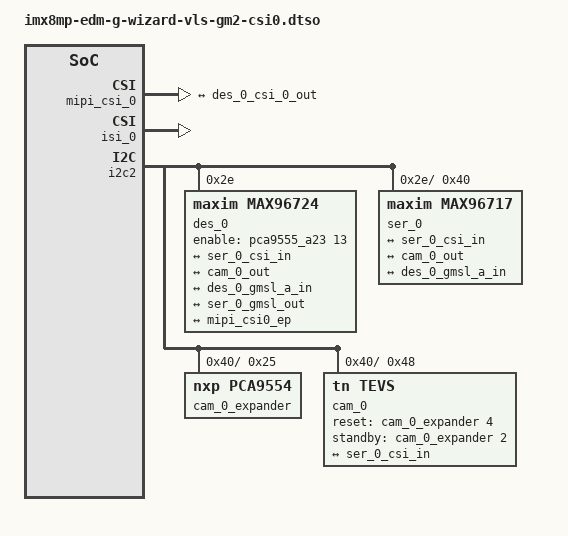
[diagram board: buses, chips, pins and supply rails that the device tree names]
// SPDX-License-Identifier: (GPL-2.0 OR MIT)
/*
 * Copyright 2026 TechNexion Ltd.
 *
 */

/dts-v1/;
/plugin/;

#include <dt-bindings/interrupt-controller/irq.h>
#include <dt-bindings/clock/imx8mp-clock.h>
#include <dt-bindings/gpio/gpio.h>

/*
 * MIPI CSI hs_settle = (lane_rate - 5 MHz) / 45 MHz
 *                    = (1500 - 5) / 45
 *                    = 33
 */
&mipi_csi_0 {
	#address-cells = <1>;
	#size-cells = <0>;
	status = "okay";

	port {
		mipi_csi0_ep: endpoint {
			remote-endpoint = <&des_0_csi_0_out>;
			data-lanes = <4>;
			csis-hs-settle = <33>;
			csis-clk-settle = <2>;
		};
	};
};

&isi_0 {
	status = "okay";

	cap_device {
		status = "okay";
		fsl,stream-on-downstream-first;
	};

	m2m_device{
		status = "okay";
	};
};

&i2c2 {
	#address-cells = <1>;
	#size-cells = <0>;

	des_0: max96724@2e {
		compatible = "maxim,max96724";
		reg = <0x2e>;
		status = "okay";

		#address-cells = <1>;
		#size-cells = <0>;

		enable-gpios = <&pca9555_a23 13 GPIO_ACTIVE_HIGH>;

		i2c-alias-pool = <0x41 0x42 0x43 0x44>;

		i2c-atr {
			#address-cells = <1>;
			#size-cells = <0>;

			des_0_i2c_0: i2c@0 {
				#address-cells = <1>;
				#size-cells = <0>;
				reg = <0>;
			};
		};

		ports {
			#address-cells = <1>;
			#size-cells = <0>;

			port@0 {
				#address-cells = <1>;
				#size-cells = <0>;
				reg = <0>;

				des_0_gmsl_a_in: endpoint@0 {
					remote-endpoint = <&ser_0_gmsl_out>;
				};
			};

			port@4 {
				#address-cells = <1>;
				#size-cells = <0>;
				reg = <4>;

				des_0_csi_0_out: endpoint@0 {
					data-lanes = <1 2 3 4>;
					clock-lanes = <0>;
					bus-type = <4>;
					link-frequencies = /bits/ 64 <750000000>;
					remote-endpoint = <&mipi_csi0_ep>;
				};
			};
		};
	};
};

&des_0_i2c_0 {
	ser_0: serializer@40 {
		compatible = "maxim,max96717";
		reg = <0x40>;

		gpio-controller;
		#gpio-cells = <2>;
		#clock-cells = <0>;

		i2c-alias-pool = <0x29 0x49>;

		pinctrl-names = "default";
		pinctrl-0 = <&ser_0_fsync>;

		ser_0_fsync: mfp0-pins {
			pins = "mfp0";
			function = "gpio";
			maxim,rx-id = <0>;
			output-enable;
			output-low;
		};

		i2c-atr {
			#address-cells = <1>;
			#size-cells = <0>;

			i2c@0 {
				#address-cells = <1>;
				#size-cells = <0>;
				reg = <0>;

				cam_0_expander: pca9554@25 {
					compatible = "nxp,pca9554";
					reg = <0x25>;
					gpio-controller;
					#gpio-cells = <2>;
					gpio-line-names = "EXPOSURE_TRIG_IN",
									"FLASH_OUT",
									"INFO_TRIG_IN",
									"CAMA_SHUTTER",
									"CSI_P1_nRST",
									"PWR_TIME0",
									"PWR_TIME1",
									"3V3_EN";
					status = "okay";
				};

				cam_0: tevs@48 {
					compatible = "tn,tevs";
					reg = <0x48>;
					status = "okay";

					reset-gpios = <&cam_0_expander 4 GPIO_ACTIVE_HIGH>;
					standby-gpios = <&cam_0_expander 2 GPIO_ACTIVE_HIGH>;

					port {
						cam_0_out: endpoint {
							remote-endpoint = <&ser_0_csi_in>;
							data-lanes = <1 2 3 4>;
							clock-lanes = <0>;
							link-frequencies = /bits/ 64 <400000000>;
						};
					};
				};
			};
		};

		ports {
			#address-cells = <1>;
			#size-cells = <0>;

			port@0 {
				#address-cells = <1>;
				#size-cells = <0>;
				reg = <0>;
				ser_0_csi_in: endpoint {
					data-lanes = <1 2 3 4>;
					remote-endpoint = <&cam_0_out>;
				};
			};

			port@1 {
				reg = <1>;
				ser_0_gmsl_out: endpoint {
					remote-endpoint = <&des_0_gmsl_a_in>;
				};
			};
		};
	};
};
